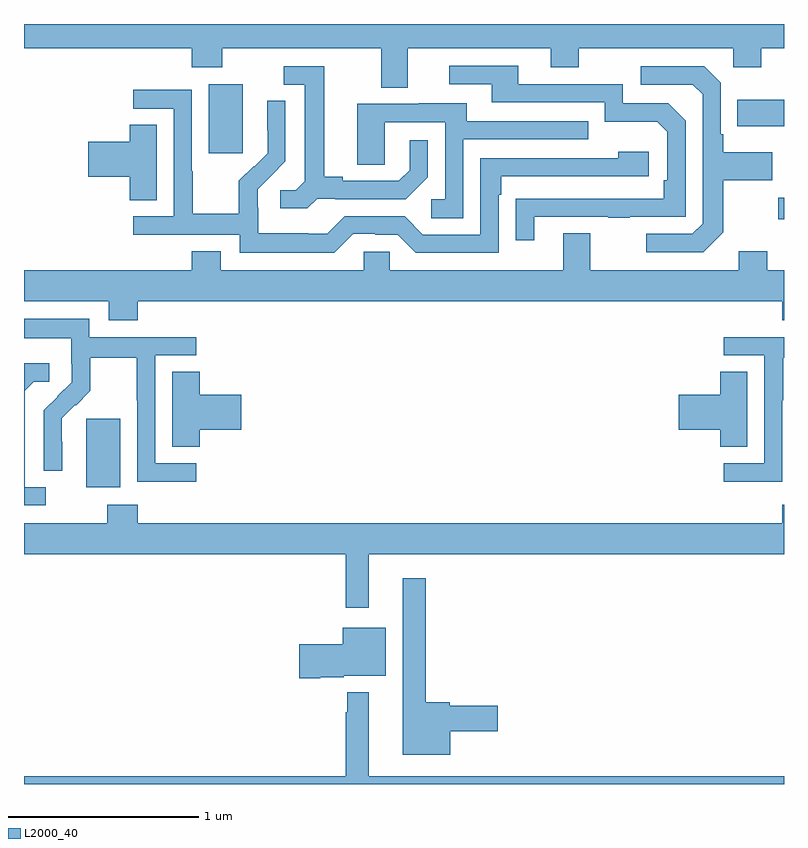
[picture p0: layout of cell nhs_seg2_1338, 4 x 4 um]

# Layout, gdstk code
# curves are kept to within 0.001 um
import gdstk
lib = gdstk.Library(unit=1e-6, precision=1e-09)
def R(c, l, rs):  # rectangles x0, y0, x1, y1
    for r in rs: c.add(gdstk.rectangle(r[:2], r[2:], *l))
def P(c, l, *ps):  # polygons
    for p in ps: c.add(gdstk.Polygon(p, *l))
L2000_40 = (2000, 40)

nhs_seg2_1338 = lib.new_cell('nhs_seg2_1338')
R(nhs_seg2_1338, L2000_40, [(181.328,609.362,181.507,609.723), (184.971,610.773,185,610.886), (181.973,611.121,182.152,611.482), (184.753,611.261,185,611.401)])
P(nhs_seg2_1338, L2000_40, [(183.019,611.672),(183.773,611.672),(183.773,611.573),(183.921,611.573),(183.921,611.672),(184.734,611.672),(184.734,611.573),(184.881,611.573),(184.881,611.672),(185,611.672),(185,611.8),(181,611.8),(181,611.672),(181.883,611.672),(181.883,611.573),(182.043,611.573),(182.043,611.672),(182.879,611.672),(182.879,611.464),(183.019,611.464)],
  [(183.685,610.785),(184.075,610.785),(184.075,610.78),(184.187,610.78),(184.187,610.785),(184.482,610.785),(184.482,611.292),(184.392,611.382),(184.152,611.382),(184.152,611.484),(183.601,611.484),(183.601,611.58),(183.237,611.58),(183.237,611.484),(183.461,611.484),(183.461,611.388),(184.056,611.388),(184.056,611.285),(184.333,611.285),(184.386,611.232),(184.386,610.978),(184.366,610.978),(184.366,610.881),(183.589,610.88),(183.589,610.662),(183.685,610.662)],
  [(184.681,610.705),(184.681,610.978),(184.937,610.978),(184.937,611.125),(184.681,611.125),(184.681,611.221),(184.668,611.221),(184.668,611.49),(184.581,611.577),(184.245,611.577),(184.245,611.481),(184.521,611.481),(184.572,611.43),(184.572,610.749),(184.518,610.695),(184.275,610.695),(184.275,610.599),(184.575,610.599)],
  [(182.544,610.881),(182.638,610.881),(182.638,610.878),(183.01,610.878),(183.126,610.994),(183.126,611.188),(183.029,611.188),(183.029,611.031),(182.972,610.974),(182.677,610.974),(182.677,610.997),(182.581,610.997),(182.581,611.577),(182.367,611.577),(182.367,611.481),(182.477,611.481),(182.477,610.973),(182.43,610.926),(182.349,610.926),(182.349,610.829),(182.492,610.829)],
  [(182.733,610.695),(182.849,610.695),(182.849,610.692),(182.967,610.692),(183.063,610.596),(183.498,610.596),(183.498,610.901),(183.511,610.901),(183.511,610.998),(184.288,610.998),(184.288,611.128),(184.127,611.128),(184.127,611.094),(183.402,611.094),(183.402,610.692),(183.099,610.692),(183.003,610.788),(182.688,610.788),(182.595,610.695),(182.495,610.695),(182.495,610.699),(182.232,610.699),(182.232,610.833),(182.23,610.833),(182.23,610.93),(182.376,611.078),(182.376,611.396),(182.28,611.396),(182.28,611.242),(182.282,611.242),(182.282,611.12),(182.211,611.049),(182.208,611.052),(182.131,610.975),(182.131,610.801),(181.887,610.801),(181.887,611.024),(181.884,611.024),(181.884,611.454),(181.575,611.454),(181.575,611.355),(181.788,611.355),(181.788,610.788),(181.575,610.788),(181.575,610.692),(182.136,610.692),(182.136,610.595),(182.633,610.595)],
  [(183.312,611.193),(183.971,611.193),(183.971,611.289),(183.331,611.289),(183.331,611.383),(183.077,611.383),(183.077,611.379),(182.753,611.379),(182.753,611.059),(182.898,611.059),(182.898,611.283),(183.216,611.283),(183.216,610.878),(183.144,610.878),(183.144,610.777),(183.312,610.777)],
  [(181.699,611.27),(181.556,611.27),(181.556,611.18),(181.338,611.18),(181.338,610.997),(181.556,610.997),(181.556,610.873),(181.699,610.873)],
  [(181.598,610.34),(184.991,610.34),(184.991,610.241),(185,610.241),(185,610.504),(184.911,610.504),(184.911,610.603),(184.763,610.603),(184.763,610.504),(183.979,610.504),(183.979,610.699),(183.839,610.699),(183.839,610.504),(182.925,610.504),(182.925,610.602),(182.787,610.602),(182.787,610.504),(182.035,610.504),(182.035,610.603),(181.883,610.603),(181.883,610.504),(181,610.504),(181,610.34),(181.445,610.34),(181.445,610.241),(181.598,610.241)],
  [(181.906,609.489),(181.692,609.489),(181.692,610.056),(181.906,610.056),(181.906,610.152),(181.344,610.152),(181.344,610.249),(181,610.249),(181,610.145),(181.248,610.145),(181.248,610.011),(181.25,610.011),(181.25,609.914),(181.104,609.766),(181.104,609.448),(181.2,609.448),(181.199,609.725),(181.269,609.795),(181.272,609.792),(181.349,609.869),(181.349,610.044),(181.594,610.044),(181.594,609.82),(181.596,609.82),(181.596,609.391),(181.906,609.391)],
  [(184.992,609.82),(184.995,609.82),(184.995,610.044),(185,610.044),(185,610.152),(184.683,610.152),(184.683,610.056),(184.896,610.056),(184.896,609.489),(184.683,609.489),(184.683,609.391),(184.992,609.391)],
  [(181.114,609.363),(181.003,609.363),(181.003,609.871),(181.05,609.918),(181.132,609.918),(181.132,610.015),(181,610.015),(181,609.267),(181.114,609.267)],
  [(181.925,609.665),(182.143,609.665),(182.143,609.848),(181.925,609.848),(181.925,609.971),(181.781,609.971),(181.781,609.574),(181.925,609.574)],
  [(184.807,609.971),(184.664,609.971),(184.664,609.848),(184.446,609.848),(184.446,609.665),(184.664,609.665),(184.664,609.574),(184.807,609.574)],
  [(182.815,609.008),(185,609.008),(185,609.271),(184.991,609.271),(184.991,609.172),(181.598,609.172),(181.598,609.271),(181.438,609.271),(181.438,609.172),(181,609.172),(181,609.008),(182.694,609.008),(182.694,608.727),(182.815,608.727)],
  [(183.244,608.078),(183.493,608.078),(183.493,608.213),(183.24,608.213),(183.24,608.231),(183.115,608.231),(183.115,608.884),(182.993,608.884),(182.993,607.955),(183.244,607.955)],
  [(182.56,608.363),(182.682,608.363),(182.682,608.369),(182.905,608.369),(182.905,608.623),(182.678,608.623),(182.678,608.535),(182.448,608.535),(182.448,608.357),(182.56,608.357)],
  [(182.701,608.284),(182.701,608.177),(182.694,608.177),(182.694,607.84),(181,607.84),(181,607.8),(185,607.8),(185,607.84),(182.815,607.84),(182.815,608.284)])

lib.write_gds('nhs_seg2_1338.gds')
